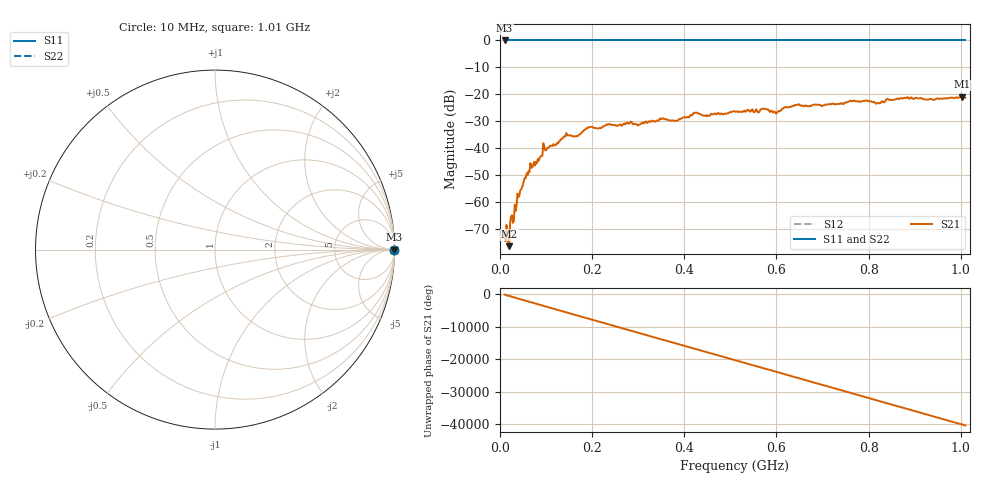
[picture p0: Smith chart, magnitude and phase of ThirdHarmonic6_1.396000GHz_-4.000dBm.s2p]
! 8/16/2025 3:55:54 PM
! C:\ANRITSUVNA\TEMP\TEMP.S2P
! CHANNEL.1
! TR.MEASUREMENT
! RAW.DATA
! RF.CORRECTION.OFF
! AVERAGING.OFF
! IF.BANDWIDTH: 5KHZ
! SWEEPTYPE:  FREQ.SWEEP(Linear)
! Reference Plane Port Info
! PORT:  PORT1  PORT2
! DISTANCE:  0  m  0  m
! TIME:  0  s  0  s
! PHASE.OFFSET:  0  deg.  0  deg.
! LOSS:  0  dB  0  dB
! REF.LOSS:  0  dB  0  dB
! REF.FREQ:  0  Hz  0  Hz
! Power Info
! POWER:  -20  dBm  -20  dBm
! EFF.POWER:  -20  dBm  -20  dBm
! SOURCE.ATTEN:  0  dB  0  dB
! TEST.ATTEN:  0  dB  0  dB
# GHZ S RI R 50.0
! FREQ.GHZ  S11RE  S11IM  S21RE  S21IM  S12RE  S12IM  S22RE  S22IM
!; PortSelection: Port_12
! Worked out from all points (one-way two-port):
!   501 points, 10 MHz to 1.01 GHz, reference 50 ohm
!   highest |S21| = -20.86 dB at 1.002 GHz (marker M1); lowest = -76.4 dB at 20 MHz (marker M2)
!   lowest |S11| = 0.0 dB at 10 MHz (marker M3)
!   |S11| at or under -10 dB: nowhere
!   |S22| runs from 0.0 to 0.0 dB; largest |S21 - S12| = 1.1
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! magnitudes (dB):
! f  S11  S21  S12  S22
! 10 MHz  0.0  -71.9  0.0  0.0
! 16 MHz  0.0  -70.0  0.0  0.0
! 20 MHz  0.0  -76.4  0.0  0.0
! 42 MHz  0.0  -57.6  0.0  0.0
! 70 MHz  0.0  -47.2  0.0  0.0
! 88 MHz  0.0  -43.1  0.0  0.0
! 98 MHz  0.0  -40.8  0.0  0.0
! 122 MHz  0.0  -38.6  0.0  0.0
! 142 MHz  0.0  -35.6  0.0  0.0
! 178 MHz  0.0  -34.1  0.0  0.0
! 196 MHz  0.0  -32.1  0.0  0.0
! 344 MHz  0.0  -29.8  0.0  0.0
! 382 MHz  0.0  -29.9  0.0  0.0
! 424 MHz  0.0  -26.9  0.0  0.0
! 510 MHz  0.0  -26.4  0.0  0.0
! 572 MHz  0.0  -25.4  0.0  0.0
! 596 MHz  0.0  -26.4  0.0  0.0
! 644 MHz  0.0  -24.0  0.0  0.0
! 678 MHz  0.0  -24.0  0.0  0.0
! 844 MHz  0.0  -22.0  0.0  0.0
! 1.002 GHz  0.0  -20.9  0.0  0.0
! 1.01 GHz  0.0  -21.3  0.0  0.0
